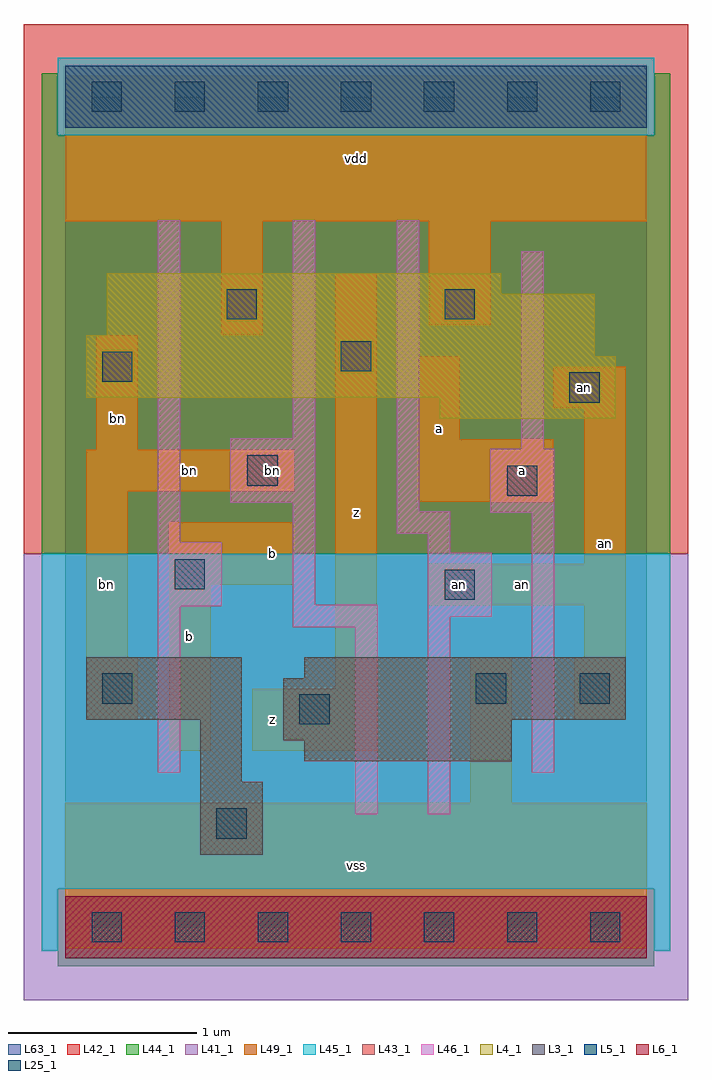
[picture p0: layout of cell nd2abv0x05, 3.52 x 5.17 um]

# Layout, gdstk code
import gdstk
lib = gdstk.Library(unit=1e-6, precision=1e-09)
def R(c, l, rs):  # rectangles x0, y0, x1, y1
    for r in rs: c.add(gdstk.rectangle(r[:2], r[2:], *l))
def A(c, l, x, y, w, h, nx, ny, dx, dy):  # array of equal rectangles
    R(c, l, [(x+i*dx, y+j*dy, x+i*dx+w, y+j*dy+h) for i in range(nx) for j in range(ny)])
L3_1 = (3, 1)
L4_1 = (4, 1)
L5_1 = (5, 1)
L6_1 = (6, 1)
L25_1 = (25, 1)
L41_1 = (41, 1)
L42_1 = (42, 1)
L43_1 = (43, 1)
L44_1 = (44, 1)
L45_1 = (45, 1)
L46_1 = (46, 1)
L49_1 = (49, 1)
L63_1 = (63, 1)

nd2abv0x05 = lib.new_cell('nd2abv0x05')
R(nd2abv0x05, L3_1, [(0.715,0.385,1.045,0.77), (0.715,0.77,0.935,1.1), (1.265,0.88,2.365,0.99), (1.155,0.99,2.365,1.1), (0.11,1.1,0.935,1.43), (1.155,1.1,2.97,1.32), (1.265,1.32,2.97,1.43)])
R(nd2abv0x05, L4_1, [(1.98,2.695,2.915,2.805), (0.11,2.805,2.915,3.025), (0.11,3.025,2.805,3.135), (0.22,3.135,2.805,3.355), (0.22,3.355,2.31,3.465)])
R(nd2abv0x05, L5_1, [(0,4.235,3.08,4.565)])
R(nd2abv0x05, L6_1, [(0,-0.165,3.08,0.165)])
A(nd2abv0x05, L25_1, 0.14, -0.08, 0.16, 0.16, 7, 2, 0.44, 4.4)
R(nd2abv0x05, L25_1, [(0.8,0.47,0.96,0.63), (1.24,1.075,1.4,1.235), (0.195,1.185,0.355,1.345), (2.175,1.185,2.335,1.345), (2.725,1.185,2.885,1.345), (2.01,1.735,2.17,1.895), (0.58,1.79,0.74,1.95), (2.34,2.285,2.5,2.445), (0.965,2.34,1.125,2.5), (2.67,2.78,2.83,2.94), (0.195,2.89,0.355,3.05), (1.46,2.945,1.62,3.105), (0.855,3.22,1.015,3.38), (2.01,3.22,2.17,3.38)])
R(nd2abv0x05, L41_1, [(-0.22,-0.385,3.3,1.98)])
R(nd2abv0x05, L42_1, [(-0.22,1.98,3.3,4.785)])
R(nd2abv0x05, L43_1, [(0,-0.165,3.08,0.165), (0.715,0.385,1.045,0.77), (0.715,0.77,0.935,1.1), (1.265,0.88,2.365,0.99), (1.155,0.99,2.365,1.1), (0.11,1.1,0.935,1.43), (1.155,1.1,2.97,1.32), (1.265,1.32,2.97,1.43), (1.98,2.695,2.915,2.805), (0.11,2.805,2.915,3.025), (0.11,3.025,2.805,3.135), (0.22,3.135,2.805,3.355), (0.22,3.355,2.31,3.465), (0,4.235,3.08,4.565)])
R(nd2abv0x05, L44_1, [(-0.04,-0.205,3.12,0.205), (-0.125,1.98,3.205,4.195), (-0.125,4.195,-0.04,4.525), (3.12,4.195,3.205,4.525)])
R(nd2abv0x05, L45_1, [(-0.125,-0.125,-0.04,0.205), (3.12,-0.125,3.205,0.205), (-0.125,0.205,3.205,1.98), (-0.04,4.195,3.12,4.605)])
R(nd2abv0x05, L46_1, [(1.535,0.6,1.655,1.59), (1.92,0.6,2.04,1.645), (0.49,0.82,0.61,1.7), (2.47,0.82,2.59,2.195), (1.205,1.59,1.655,1.71), (1.92,1.645,2.26,1.985), (0.49,1.7,0.83,2.04), (1.205,1.71,1.325,2.25), (1.92,1.985,2.04,2.085), (0.49,2.04,0.61,3.745), (1.755,2.085,2.04,2.205), (2.25,2.195,2.59,2.535), (1.755,2.205,1.875,3.745), (0.875,2.25,1.325,2.59), (2.415,2.535,2.535,3.58), (1.205,2.59,1.325,3.745)])
R(nd2abv0x05, L49_1, [(0,-0.11,3.08,0.66), (2.145,0.66,2.365,1.43), (0.55,0.935,0.77,1.815), (0.99,0.935,1.65,1.265), (0.11,1.1,0.385,1.43), (2.695,1.1,2.97,1.43), (1.43,1.265,1.65,3.465), (0.11,1.43,0.33,2.31), (2.75,1.43,2.97,1.705), (1.925,1.705,2.97,1.925), (0.55,1.815,1.21,2.145), (2.75,1.925,2.97,2.75), (1.87,2.255,2.585,2.585), (0.11,2.31,1.21,2.53), (0.165,2.53,0.385,3.135), (1.87,2.585,2.09,3.025), (2.585,2.75,2.97,2.97), (0.825,3.135,1.045,3.74), (1.925,3.19,2.255,3.74), (0,3.74,3.08,4.51)])
R(nd2abv0x05, L63_1, [(0,0,3.08,4.4)])
nd2abv0x05.add(gdstk.Label('bn', (1.1,2.42), layer=49, texttype=1))
nd2abv0x05.add(gdstk.Label('an', (2.09,1.815), layer=49, texttype=1))
nd2abv0x05.add(gdstk.Label('bn', (0.275,2.695), layer=49, texttype=1))
nd2abv0x05.add(gdstk.Label('bn', (0.22,1.815), layer=49, texttype=1))
nd2abv0x05.add(gdstk.Label('z', (1.1,1.1), layer=49, texttype=1))
nd2abv0x05.add(gdstk.Label('b', (0.66,1.54), layer=49, texttype=1))
nd2abv0x05.add(gdstk.Label('b', (1.1,1.98), layer=49, texttype=1))
nd2abv0x05.add(gdstk.Label('bn', (0.66,2.42), layer=49, texttype=1))
nd2abv0x05.add(gdstk.Label('vss', (1.54,0.33), layer=49, texttype=1))
nd2abv0x05.add(gdstk.Label('z', (1.54,2.2), layer=49, texttype=1))
nd2abv0x05.add(gdstk.Label('a', (1.98,2.64), layer=49, texttype=1))
nd2abv0x05.add(gdstk.Label('vdd', (1.54,4.07), layer=49, texttype=1))
nd2abv0x05.add(gdstk.Label('an', (2.42,1.815), layer=49, texttype=1))
nd2abv0x05.add(gdstk.Label('a', (2.42,2.42), layer=49, texttype=1))
nd2abv0x05.add(gdstk.Label('an', (2.86,2.035), layer=49, texttype=1))
nd2abv0x05.add(gdstk.Label('an', (2.75,2.86), layer=49, texttype=1))

lib.write_gds('nd2abv0x05.gds')
